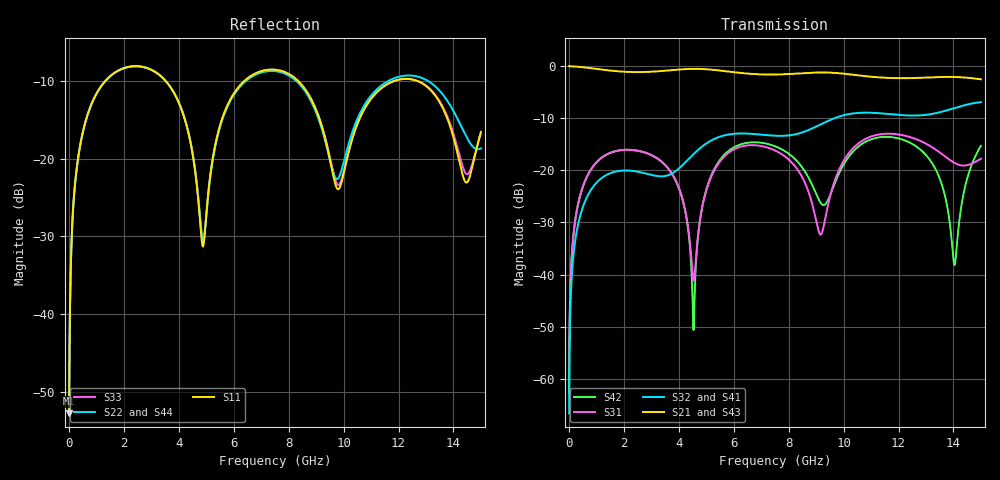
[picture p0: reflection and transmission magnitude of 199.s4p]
! Created with skrf 1.8.0 (http://scikit-rf.org).
# GHz S RI R 50.0
!freq ReS11 ImS11 ReS12 ImS12 ReS13 ImS13
! ReS14 ImS14
! ReS21 ImS21 ReS22 ImS22 ReS23 ImS23
! ReS24 ImS24
! ReS31 ImS31 ReS32 ImS32 ReS33 ImS33
! ReS34 ImS34
! ReS41 ImS41 ReS42 ImS42 ReS43 ImS43
! ReS44 ImS44
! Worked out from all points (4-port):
!   2499 points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, 5 MHz to 15 GHz, reference 50 ohm
!   strongest paths, dB at 5 MHz, 3.476 GHz, 7.19 GHz, 11.1 GHz, 15 GHz:
!     S21: 0.0, -0.9, -1.6, -2.1, -2.5
!     S43: 0.0, -0.9, -1.6, -2.1, -2.5
!     S32: -66.6, -21.1, -13.2, -9.0, -6.9
!     S41: -66.6, -21.2, -13.3, -9.0, -6.9
!     S31: -62.6, -18.8, -15.6, -13.3, -17.8
!     S42: -62.6, -18.8, -14.9, -13.9, -15.3
!   lowest |S11| = -52.7 dB at 5 MHz (marker M1), VSWR 1.00, Z = 50.2 + j0.14 ohm
!   |S11| at or under -10 dB: 3.515 GHz to 6.397 GHz (2.882 GHz wide, 58.1 % of centre); 8.335 GHz to 11.85 GHz (3.519 GHz wide, 34.9 % of centre); 12.67 GHz to end of sweep (the widest 3 of 4)
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0.005  0.00184 0.00139  0.9981 -0.00357  9.29e-05 0.000732  -9.02e-05 -0.000459
       0.9981 -0.00357  0.00184 0.00139  -9.02e-05 -0.000459  9.3e-05 0.000732
       9.29e-05 0.000732  -9.02e-05 -0.000459  0.00184 0.00139  0.9981 -0.00357
       -9.02e-05 -0.000459  9.3e-05 0.000732  0.9981 -0.00357  0.00184 0.00139
0.3626511  0.0367 0.103  0.9493 -0.254  0.0177 0.0485  -0.0146 -0.0295
           0.9493 -0.254  0.0366 0.103  -0.0147 -0.0295  0.0178 0.0485
           0.0177 0.0485  -0.0147 -0.0295  0.0367 0.103  0.9493 -0.254
           -0.0146 -0.0295  0.0178 0.0485  0.9493 -0.254  0.0366 0.103
1.77574  0.3431 0.128  0.3594 -0.816  0.1508 0.0324  -0.0947 0.0254
         0.3594 -0.816  0.3426 0.1287  -0.0949 0.0256  0.1515 0.0311
         0.1508 0.0324  -0.0949 0.0256  0.3431 0.1281  0.3593 -0.816
         -0.0947 0.0254  0.1515 0.0311  0.3593 -0.816  0.3428 0.1286
4.539391  0.0451 -0.0864  -0.897 -0.2825  -0.00871 -0.000939  -0.04 0.1377
          -0.897 -0.2825  0.0472 -0.0866  -0.0377 0.1384  -0.00293 0.000306
          -0.00871 -0.000939  -0.0377 0.1384  0.0465 -0.0865  -0.897 -0.2825
          -0.04 0.1377  -0.00293 0.000306  -0.897 -0.2825  0.0462 -0.0874
5.746144  0.146 0.1578  -0.7794 0.4294  0.1079 0.0935  0.1343 0.1727
          -0.7794 0.4294  0.1431 0.1547  0.1372 0.1708  0.1213 0.0859
          0.1079 0.0935  0.1372 0.1708  0.1468 0.1565  -0.7792 0.4297
          0.1343 0.1727  0.1213 0.0859  -0.7792 0.4297  0.1423 0.1555
9.860358  0.0647 0.00648  0.848 0.0906  0.0187 0.1029  0.0293 -0.3285
          0.848 0.0906  0.0762 0.0162  0.0192 -0.3289  -0.00472 0.0967
          0.0187 0.1029  0.0192 -0.3289  0.0688 0.00395  0.8481 0.0897
          0.0293 -0.3285  -0.00472 0.0967  0.8481 0.0897  0.0725 0.0155
15  0.1018 0.108  -0.7461 -0.0381  -0.0541 0.1171  -0.00819 0.4503
    -0.7461 -0.0381  0.1159 -0.00732  0.0121 0.4509  0.1364 0.1041
    -0.0541 0.1171  0.0121 0.4509  0.1096 0.0956  -0.7467 -0.0367
    -0.00819 0.4503  0.1364 0.1041  -0.7467 -0.0367  0.1134 -0.0134
